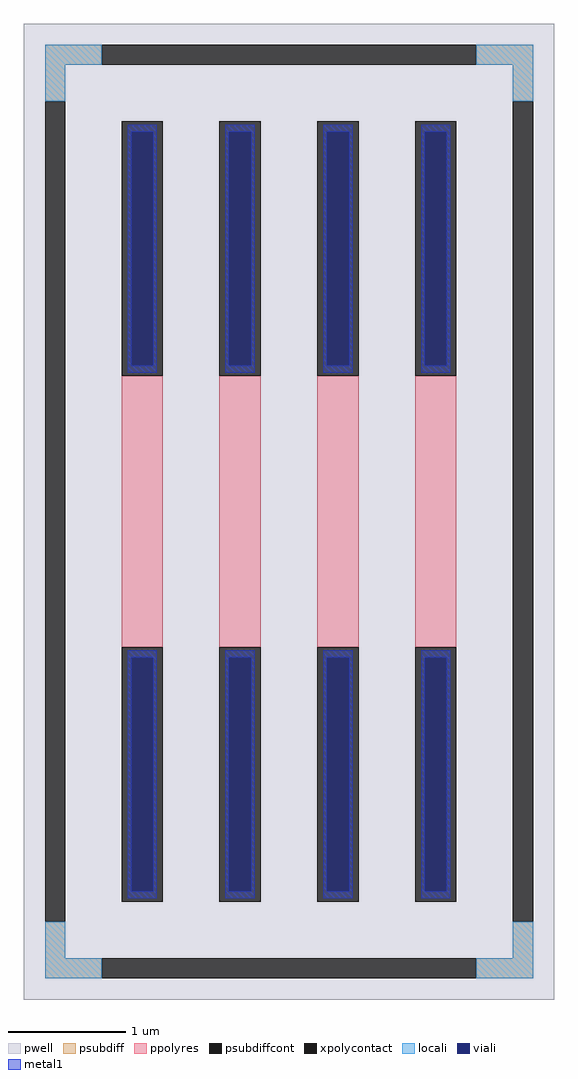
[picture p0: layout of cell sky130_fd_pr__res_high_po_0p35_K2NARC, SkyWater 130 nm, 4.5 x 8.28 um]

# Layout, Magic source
magic
tech sky130B
magscale 1 2
<< pwell >>
rect -450 -828 450 828
<< psubdiff >>
rect -414 758 -318 792
rect 318 758 414 792
rect -414 696 -380 758
rect 380 696 414 758
rect -414 -758 -380 -696
rect 380 -758 414 -696
rect -414 -792 -318 -758
rect 318 -792 414 -758
<< psubdiffcont >>
rect -318 758 318 792
rect -414 -696 -380 696
rect 380 -696 414 696
rect -318 -792 318 -758
<< xpolycontact >>
rect -284 230 -214 662
rect -284 -662 -214 -230
rect -118 230 -48 662
rect -118 -662 -48 -230
rect 48 230 118 662
rect 48 -662 118 -230
rect 214 230 284 662
rect 214 -662 284 -230
<< ppolyres >>
rect -284 -230 -214 230
rect -118 -230 -48 230
rect 48 -230 118 230
rect 214 -230 284 230
<< locali >>
rect -414 758 -318 792
rect 318 758 414 792
rect -414 696 -380 758
rect 380 696 414 758
rect -414 -758 -380 -696
rect 380 -758 414 -696
rect -414 -792 -318 -758
rect 318 -792 414 -758
<< viali >>
rect -268 247 -230 644
rect -102 247 -64 644
rect 64 247 102 644
rect 230 247 268 644
rect -268 -644 -230 -247
rect -102 -644 -64 -247
rect 64 -644 102 -247
rect 230 -644 268 -247
<< metal1 >>
rect -274 644 -224 656
rect -274 247 -268 644
rect -230 247 -224 644
rect -274 235 -224 247
rect -108 644 -58 656
rect -108 247 -102 644
rect -64 247 -58 644
rect -108 235 -58 247
rect 58 644 108 656
rect 58 247 64 644
rect 102 247 108 644
rect 58 235 108 247
rect 224 644 274 656
rect 224 247 230 644
rect 268 247 274 644
rect 224 235 274 247
rect -274 -247 -224 -235
rect -274 -644 -268 -247
rect -230 -644 -224 -247
rect -274 -656 -224 -644
rect -108 -247 -58 -235
rect -108 -644 -102 -247
rect -64 -644 -58 -247
rect -108 -656 -58 -644
rect 58 -247 108 -235
rect 58 -644 64 -247
rect 102 -644 108 -247
rect 58 -656 108 -644
rect 224 -247 274 -235
rect 224 -644 230 -247
rect 268 -644 274 -247
rect 224 -656 274 -644
<< properties >>
string FIXED_BBOX -397 -775 397 775
string gencell sky130_fd_pr__res_high_po_0p35
string library sky130
string parameters w 0.350 l 2.46 m 1 nx 4 wmin 0.350 lmin 0.50 rho 319.8 val 3.36k dummy 0 dw 0.0 term 194.82 sterm 0.0 caplen 0 guard 1 glc 1 grc 1 gtc 1 gbc 1 compatible {sky130_fd_pr__res_high_po_0p35  sky130_fd_pr__res_high_po_0p69 sky130_fd_pr__res_high_po_1p41  sky130_fd_pr__res_high_po_2p85 sky130_fd_pr__res_high_po_5p73} snake 0 full_metal 1 wmax 0.350 vias 1 n_guard 0 hv_guard 0 viagb 0 viagt 0 viagl 0 viagr 0
<< end >>
